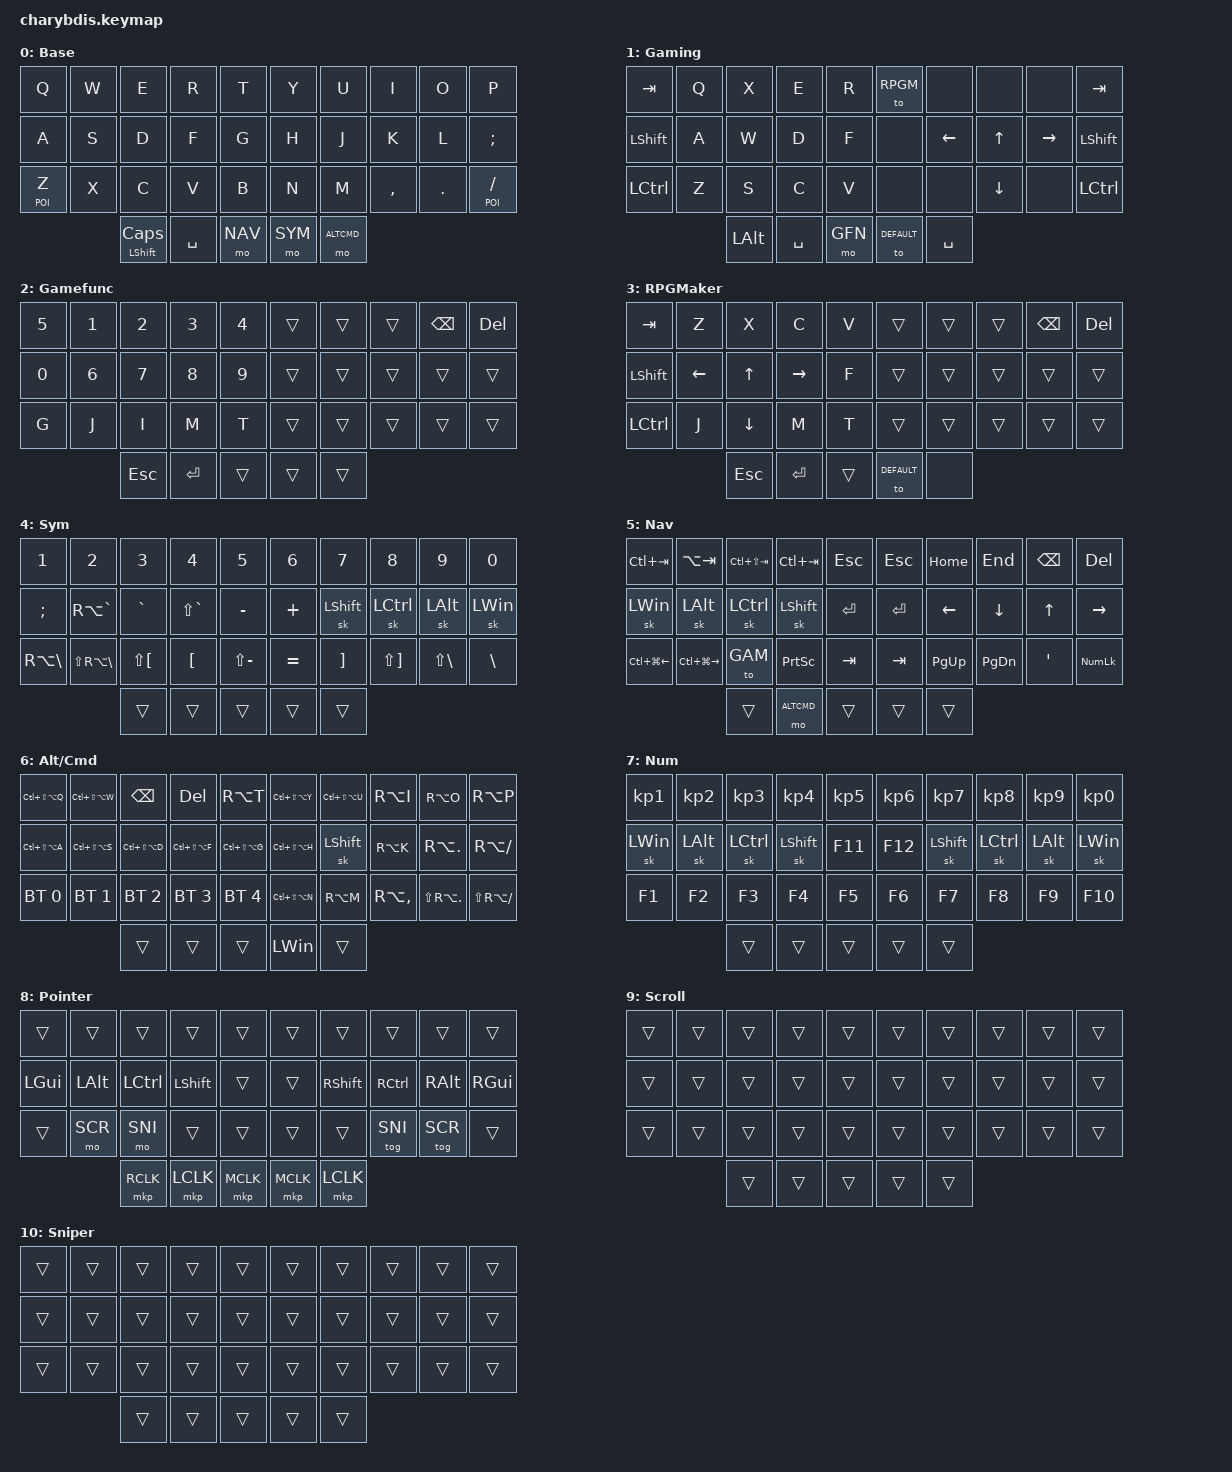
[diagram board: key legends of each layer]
#include <behaviors.dtsi>
#include <dt-bindings/zmk/keys.h>
#include <dt-bindings/zmk/bt.h>
#include <dt-bindings/zmk/ext_power.h>
#include <dt-bindings/zmk/mouse.h>
#include <dt-bindings/zmk/outputs.h>

#define DEFAULT 0
#define GAM 1
#define GFN 2
#define RPGM 3
#define SYM 4
#define NAV 5
#define ALTCMD 6
#define NUM 7
#define POI 8
#define SCR 9
#define SNI 10

/ {
    chosen { zmk,matrix_transform = &five_column_transform; };

    #include "combos.dtsi"

    trackball_listener {
        compatible = "zmk,input-behavior-listener";
        device = <&trackball>;
        layers = <DEFAULT GAM GFN RPGM SYM NAV ALTCMD NUM POI>;
        evt-type = <INPUT_EV_REL>;
        x-input-code = <INPUT_REL_X>;
        y-input-code = <INPUT_REL_Y>;
        scale-multiplier = <1>;
        scale-divisor = <4>;
    };

    trackball_snipe_listener {
        compatible = "zmk,input-behavior-listener";   
        device = <&trackball>;
        layers = <SNI>;
        evt-type = <INPUT_EV_REL>;
        x-input-code = <INPUT_REL_X>;
        y-input-code = <INPUT_REL_Y>;
        scale-multiplier = <1>;
        scale-divisor = <12>;
    };

    trackball_scroll_listener {
        compatible = "zmk,input-behavior-listener";
        device = <&trackball>;
        layers = <SCR>;
        evt-type = <INPUT_EV_REL>;            
        x-input-code = <INPUT_REL_MISC>;
        y-input-code = <INPUT_REL_WHEEL>;
        y-invert;
    };


    behaviors {
        lt: layer_tap {
            compatible = "zmk,behavior-hold-tap";
            #binding-cells = <2>;
            flavor = "balanced";
            tapping-term-ms = <240>;
            quick-tap-ms = <150>;
            bindings = 
                <&mo>,
                <&kp>;
        };


        hml: homewrow_mods_left {
            compatible = "zmk,behavior-hold-tap";
            label = "HOMEROW_MODS_LEFT_HAND";
            bindings = <&kp>, <&kp>;

            #binding-cells = <2>;
            tapping-term-ms = <280>;
            hold-trigger-key-positions = <5 6 7 8 9 15 16 17 18 19 25 26 27 28 29 33 34>;
            flavor = "balanced";
            quick-tap-ms = <175>;
            require-prior-idle-ms = <125>;
            hold-trigger-on-release;
        };

        hmr: homewrow_mods_right {
            compatible = "zmk,behavior-hold-tap";
            label = "HOMEROW_MODS_RIGHT_HAND";
            bindings = <&kp>, <&kp>;

            #binding-cells = <2>;
            tapping-term-ms = <280>;
            hold-trigger-key-positions = <0 1 2 3 4 10 11 12 13 14 20 21 22 23 24 30 31 32>;
            flavor = "balanced";
            quick-tap-ms = <175>;
            require-prior-idle-ms = <125>;
            hold-trigger-on-release;
        };
    };



    conditional_layers {
        compatible = "zmk,conditional-layers";
        tri_layer {
            if-layers = <SYM NAV>;
            then-layer = <NUM>;
        };
    };


    keymap {
            compatible = "zmk,keymap";

            default_layer {
                label = "Base";
                bindings = <
      // ╭─────────────┬─────────────┬─────────────┬─────────────┬─────────────╮   ╭─────────────┬─────────────┬─────────────┬─────────────┬─────────────╮
              &kp Q         &kp W        &kp E         &kp R          &kp T             &kp Y         &kp U         &kp I         &kp O         &kp P
      // ├─────────────┼─────────────┼─────────────┼─────────────┼─────────────┤   ├─────────────┼─────────────┼─────────────┼─────────────┼─────────────┤
              &kp A         &kp S         &kp D        &kp F          &kp G             &kp H          &kp J        &kp K         &kp L        &kp SEMI
      // ├─────────────┼─────────────┼─────────────┼─────────────┼─────────────┤   ├─────────────┼─────────────┼─────────────┼─────────────┼─────────────┤
           &lt POI Z        &kp X         &kp C         &kp V         &kp B             &kp N         &kp M       &kp COMMA     &kp DOT     &lt POI FSLH
      // ╰─────────────┴─────────────┼─────────────┼─────────────┼─────────────┤   ├─────────────┼─────────────┼─────────────┼─────────────┴─────────────╯
                                      &hml LSHFT CAPS     &kp SPACE      &mo NAV           &mo SYM      &mo ALTCMD
      //                             ╰─────────────┴─────────────┴─────────────╯   ╰─────────────┴─────────────╯
                >;
            };


            gaming_layer {
                label = "Gaming";
                bindings = <
    // ╭─────────────┬─────────────┬─────────────┬─────────────┬─────────────╮   ╭─────────────┬─────────────┬─────────────┬─────────────┬─────────────╮
           &kp TAB         &kp Q         &kp X         &kp E         &kp R          &to RPGM        &none        &none         &none       &kp TAB
    // ├─────────────┼─────────────┼─────────────┼─────────────┼─────────────┤   ├─────────────┼─────────────┼─────────────┼─────────────┼─────────────┤
          &kp LSHFT       &kp A         &kp W         &kp D         &kp F             &none       &kp LEFT        &kp UP     &kp RIGHT       &kp LSHFT
    // ├─────────────┼─────────────┼─────────────┼─────────────┼─────────────┤   ├─────────────┼─────────────┼─────────────┼─────────────┼─────────────┤
          &kp LCTRL       &kp Z         &kp S         &kp C         &kp V             &none         &none       &kp DOWN        &none      &kp LCTRL
    // ╰─────────────┴─────────────┼─────────────┼─────────────┼─────────────┤   ├─────────────┼─────────────┼─────────────┼─────────────┴─────────────╯
                                      &kp LALT      &kp SPACE      &mo GFN         &to DEFAULT    &kp SPACE
    //                             ╰─────────────┴─────────────┴─────────────╯   ╰─────────────┴─────────────╯
                >;
            };
            gamefunc_layer {
                label = "Gamefunc";
                bindings = <
    // ╭─────────────┬─────────────┬─────────────┬─────────────┬─────────────╮   ╭─────────────┬─────────────┬─────────────┬─────────────┬─────────────╮
           &kp N5         &kp N1        &kp N2        &kp N3       &kp N4             &trans        &trans       &trans        &kp BSPC     &kp DEL
    // ├─────────────┼─────────────┼─────────────┼─────────────┼─────────────┤   ├─────────────┼─────────────┼─────────────┼─────────────┼─────────────┤
           &kp N0        &kp N6        &kp N7        &kp N8         &kp N9            &trans        &trans       &trans         &trans       &trans
    // ├─────────────┼─────────────┼─────────────┼─────────────┼─────────────┤   ├─────────────┼─────────────┼─────────────┼─────────────┼─────────────┤
            &kp G         &kp J         &kp I         &kp M          &kp T            &trans        &trans       &trans         &trans       &trans
    // ╰─────────────┴─────────────┼─────────────┼─────────────┼─────────────┤   ├─────────────┼─────────────┼─────────────┼─────────────┴─────────────╯
                                       &kp ESC      &kp ENTER       &trans            &trans        &trans
    //                             ╰─────────────┴─────────────┴─────────────╯   ╰─────────────┴─────────────╯
                >;
            };
            rpgmaker_layer {
                label = "RPGMaker";
                bindings = <
    // ╭─────────────┬─────────────┬─────────────┬─────────────┬─────────────╮   ╭─────────────┬─────────────┬─────────────┬─────────────┬─────────────╮
          &kp TAB         &kp Z         &kp X         &kp C         &kp V             &trans        &trans       &trans       &kp BSPC     &kp DEL
    // ├─────────────┼─────────────┼─────────────┼─────────────┼─────────────┤   ├─────────────┼─────────────┼─────────────┼─────────────┼─────────────┤
          &kp LSHFT     &kp LEFT        &kp UP      &kp RIGHT       &kp F             &trans        &trans       &trans         &trans       &trans
    // ├─────────────┼─────────────┼─────────────┼─────────────┼─────────────┤   ├─────────────┼─────────────┼─────────────┼─────────────┼─────────────┤
          &kp LCTRL      &kp J        &kp DOWN        &kp M          &kp T            &trans        &trans       &trans         &trans       &trans
    // ╰─────────────┴─────────────┼─────────────┼─────────────┼─────────────┤   ├─────────────┼─────────────┼─────────────┼─────────────┴─────────────╯
                                       &kp ESC      &kp ENTER       &trans         &to DEFAULT       &none
    //                             ╰─────────────┴─────────────┴─────────────╯   ╰─────────────┴─────────────╯
                >;
            };

            sym_layer {
                label = "Sym";
                bindings = <
    // ╭─────────────┬─────────────┬─────────────┬─────────────┬─────────────╮   ╭─────────────┬─────────────┬─────────────┬─────────────┬─────────────╮
            &kp N1        &kp N2        &kp N3        &kp N4        &kp N5           &kp N6        &kp N7        &kp N8         &kp N9       &kp N0
    // ├─────────────┼─────────────┼─────────────┼─────────────┼─────────────┤   ├─────────────┼─────────────┼─────────────┼─────────────┼─────────────┤
           &kp SEMI   &kp RA(GRAVE)   &kp GRAVE  &kp LS(GRAVE)   &kp MINUS          &kp PLUS      &sk LSHIFT    &sk LCTRL     &sk LALT      &sk LWIN
    // ├─────────────┼─────────────┼─────────────┼─────────────┼─────────────┤   ├─────────────┼─────────────┼─────────────┼─────────────┼─────────────┤
       &kp RA(BSLH)  &kp LS(RA(BSLH)) &kp LS(LBKT)   &kp LBKT   &kp LS(MINUS)       &kp EQUAL     &kp RBKT   &kp LS(RBKT)   &kp LS(BSLH)    &kp BSLH
    // ╰─────────────┴─────────────┼─────────────┼─────────────┼─────────────┤   ├─────────────┼─────────────┼─────────────┼─────────────┴─────────────╯
                                        &trans        &trans        &trans            &trans        &trans
    //                             ╰─────────────┴─────────────┴─────────────╯   ╰─────────────┴─────────────╯
                            >;
            };

            nav_layer {
                label = "Nav";
                bindings = <
    // ╭─────────────┬─────────────┬─────────────┬─────────────┬─────────────╮   ╭─────────────┬─────────────┬─────────────┬─────────────┬─────────────╮
         &kp LC(TAB)   &kp LA(TAB) &kp LC(LS(TAB)) &kp LC(TAB)     &kp ESC            &kp ESC      &kp HOME      &kp END       &kp BSPC     &kp DEL
    // ├─────────────┼─────────────┼─────────────┼─────────────┼─────────────┤   ├─────────────┼─────────────┼─────────────┼─────────────┼─────────────┤
           &sk LWIN     &sk LALT      &sk LCTRL     &sk LSHIFT    &kp ENTER         &kp ENTER      &kp LEFT      &kp DOWN      &kp UP       &kp RIGHT
    // ├─────────────┼─────────────┼─────────────┼─────────────┼─────────────┤   ├─────────────┼─────────────┼─────────────┼─────────────┼─────────────┤
       &kp LC(LG(LEFT)) &kp LC(LG(RIGHT)) &to GAM    &kp PSCRN      &kp TAB           &kp TAB     &kp PG_UP     &kp PG_DN     &kp SQT     &kp KP_NUMLOCK
    // ╰─────────────┴─────────────┼─────────────┼─────────────┼─────────────┤   ├─────────────┼─────────────┼─────────────┼─────────────┴─────────────╯
                                        &trans     &mo ALTCMD        &trans            &trans        &trans
    //                             ╰─────────────┴─────────────┴─────────────╯   ╰─────────────┴─────────────╯
                            >;
            };

            altcmd_layer {
                label = "Alt/Cmd";
                bindings = <
    // ╭─────────────┬─────────────┬─────────────┬─────────────┬─────────────╮   ╭─────────────┬─────────────┬─────────────┬─────────────┬─────────────╮
    &kp LC(LS(LA(Q))) &kp LC(LS(LA(W))) &kp BSPC       &kp DEL    &kp RA(T)    &kp LC(LS(LA(Y))) &kp LC(LS(LA(U))) &kp RA(I)  &kp RA(O)     &kp RA(P)
    // ├─────────────┼─────────────┼─────────────┼─────────────┼─────────────┤   ├─────────────┼─────────────┼─────────────┼─────────────┼─────────────┤
    &kp LC(LS(LA(A))) &kp LC(LS(LA(S))) &kp LC(LS(LA(D))) &kp LC(LS(LA(F))) &kp LC(LS(LA(G))) &kp LC(LS(LA(H))) &sk LSHIFT    &kp RA(K)    &kp RA(DOT)    &kp RA(FSLH)
    // ├─────────────┼─────────────┼─────────────┼─────────────┼─────────────┤   ├─────────────┼─────────────┼─────────────┼─────────────┼─────────────┤
         &bt BT_SEL 0  &bt BT_SEL 1 &bt BT_SEL 2   &bt BT_SEL 3  &bt BT_SEL 4  &kp LC(LS(LA(N))) &kp RA(M) &kp RA(COMMA)  &kp LS(RA(DOT))   &kp LS(RA(FSLH))
    // ╰─────────────┴─────────────┼─────────────┼─────────────┼─────────────┤   ├─────────────┼─────────────┼─────────────┼─────────────┴─────────────╯
                                        &trans        &trans        &trans          &kp LWIN        &trans
    //                             ╰─────────────┴─────────────┴─────────────╯   ╰─────────────┴─────────────╯
                            >;
            };

            num_layer {
                label = "Num";
                bindings = <
    // ╭─────────────┬─────────────┬─────────────┬─────────────┬─────────────╮   ╭─────────────┬─────────────┬─────────────┬─────────────┬─────────────╮
          &kp KP_N1     &kp KP_N2     &kp KP_N3     &kp KP_N4     &kp KP_N5         &kp KP_N6     &kp KP_N7     &kp KP_N8     &kp KP_N9     &kp KP_N0
    // ├─────────────┼─────────────┼─────────────┼─────────────┼─────────────┤   ├─────────────┼─────────────┼─────────────┼─────────────┼─────────────┤
          &sk LWIN      &sk LALT      &sk LCTRL     &sk LSHIFT     &kp F11          &kp F12      &sk LSHIFT     &sk LCTRL     &sk LALT      &sk LWIN
    // ├─────────────┼─────────────┼─────────────┼─────────────┼─────────────┤   ├─────────────┼─────────────┼─────────────┼─────────────┼─────────────┤
           &kp F1        &kp F2        &kp F3        &kp F4        &kp F5            &kp F6         &kp F7       &kp F8        &kp F9        &kp F10
    // ╰─────────────┴─────────────┼─────────────┼─────────────┼─────────────┤   ├─────────────┼─────────────┼─────────────┼─────────────┴─────────────╯
                                        &trans        &trans        &trans            &trans        &trans
    //                             ╰─────────────┴─────────────┴─────────────╯   ╰─────────────┴─────────────╯
                            >;
            };

            pointer_layer {
                label = "Pointer";
                bindings = <
      // ╭─────────────┬─────────────┬─────────────┬─────────────┬─────────────╮   ╭─────────────┬─────────────┬─────────────┬─────────────┬─────────────╮
            &trans         &trans         &trans       &trans        &trans            &trans       &trans          &trans       &trans        &trans
      // ├─────────────┼─────────────┼─────────────┼─────────────┼─────────────┤   ├─────────────┼─────────────┼─────────────┼─────────────┼─────────────┤
             &kp LGUI     &kp LALT     &kp LCTRL      &kp LSHFT     &trans            &trans        &kp RSHFT     &kp RCTRL     &kp RALT     &kp RGUI
      // ├─────────────┼─────────────┼─────────────┼─────────────┼─────────────┤   ├─────────────┼─────────────┼─────────────┼─────────────┼─────────────┤
              &trans       &mo SCR      &mo SNI       &trans        &trans             &trans        &trans      &tog SNI      &tog SCR       &trans
      // ╰─────────────┴─────────────┼─────────────┼─────────────┼─────────────┤   ├─────────────┼─────────────┼─────────────┼─────────────┴─────────────╯
                                        &mkp RCLK     &mkp LCLK     &mkp MCLK         &mkp MCLK    &mkp LCLK
      //                             ╰─────────────┴─────────────┴─────────────╯   ╰─────────────┴─────────────╯
                >;
            };

            scroll_layer {
                label = "Scroll";
                bindings = <
      // ╭─────────────┬─────────────┬─────────────┬─────────────┬─────────────╮   ╭─────────────┬─────────────┬─────────────┬─────────────┬─────────────╮
             &trans        &trans        &trans        &trans        &trans             &trans       &trans        &trans         &trans        &trans
      // ├─────────────┼─────────────┼─────────────┼─────────────┼─────────────┤   ├─────────────┼─────────────┼─────────────┼─────────────┼─────────────┤
             &trans        &trans        &trans        &trans        &trans             &trans       &trans        &trans         &trans        &trans
      // ├─────────────┼─────────────┼─────────────┼─────────────┼─────────────┤   ├─────────────┼─────────────┼─────────────┼─────────────┼─────────────┤
             &trans        &trans        &trans        &trans        &trans             &trans       &trans        &trans         &trans        &trans
      // ╰─────────────┴─────────────┼─────────────┼─────────────┼─────────────┤   ├─────────────┼─────────────┼─────────────┼─────────────┴─────────────╯
                                         &trans        &trans         &trans            &trans       &trans
      //                             ╰─────────────┴─────────────┴─────────────╯   ╰─────────────┴─────────────╯
                >;
            };

            sniper_layer {
                label = "Sniper";
                bindings = <
      // ╭─────────────┬─────────────┬─────────────┬─────────────┬─────────────╮   ╭─────────────┬─────────────┬─────────────┬─────────────┬─────────────╮
             &trans        &trans        &trans        &trans        &trans             &trans       &trans        &trans         &trans        &trans
      // ├─────────────┼─────────────┼─────────────┼─────────────┼─────────────┤   ├─────────────┼─────────────┼─────────────┼─────────────┼─────────────┤
             &trans        &trans        &trans        &trans        &trans             &trans       &trans        &trans         &trans        &trans
      // ├─────────────┼─────────────┼─────────────┼─────────────┼─────────────┤   ├─────────────┼─────────────┼─────────────┼─────────────┼─────────────┤
             &trans        &trans        &trans        &trans         &trans            &trans       &trans        &trans         &trans        &trans
      // ╰─────────────┴─────────────┼─────────────┼─────────────┼─────────────┤   ├─────────────┼─────────────┼─────────────┼─────────────┴─────────────╯
                                         &trans        &trans         &trans            &trans       &trans
      //                             ╰─────────────┴─────────────┴─────────────╯   ╰─────────────┴─────────────╯
                >;
            };
        };
    };

